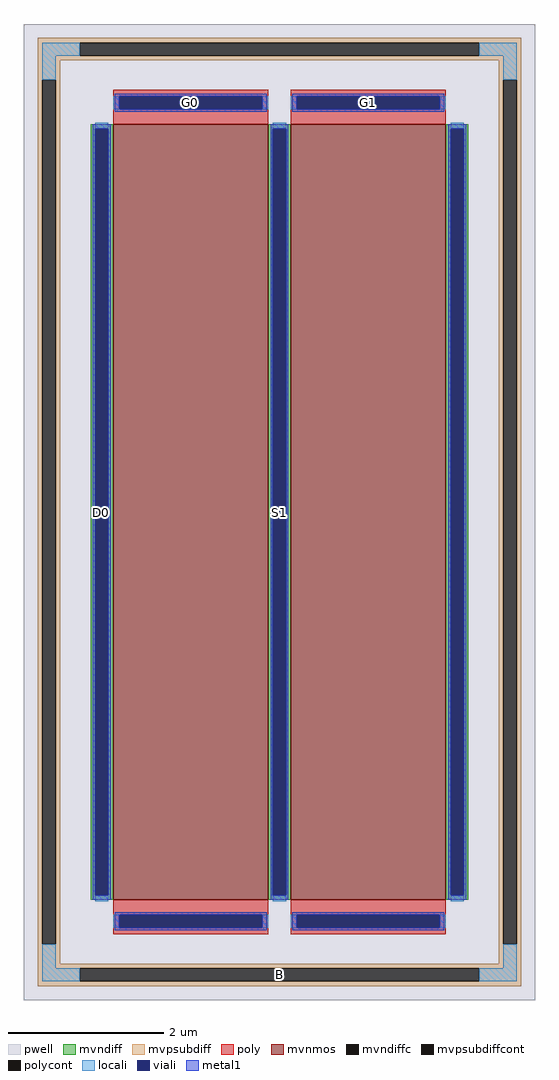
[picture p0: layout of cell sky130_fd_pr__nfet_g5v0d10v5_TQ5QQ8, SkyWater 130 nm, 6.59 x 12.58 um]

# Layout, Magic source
magic
tech sky130A
magscale 1 2
<< pwell >>
rect -659 -1258 659 1258
<< mvnmos >>
rect -429 -1000 -29 1000
rect 29 -1000 429 1000
<< mvndiff >>
rect -487 988 -429 1000
rect -487 -988 -475 988
rect -441 -988 -429 988
rect -487 -1000 -429 -988
rect -29 988 29 1000
rect -29 -988 -17 988
rect 17 -988 29 988
rect -29 -1000 29 -988
rect 429 988 487 1000
rect 429 -988 441 988
rect 475 -988 487 988
rect 429 -1000 487 -988
<< mvndiffc >>
rect -475 -988 -441 988
rect -17 -988 17 988
rect 441 -988 475 988
<< mvpsubdiff >>
rect -623 1210 623 1222
rect -623 1176 -515 1210
rect 515 1176 623 1210
rect -623 1164 623 1176
rect -623 1114 -565 1164
rect -623 -1114 -611 1114
rect -577 -1114 -565 1114
rect 565 1114 623 1164
rect -623 -1164 -565 -1114
rect 565 -1114 577 1114
rect 611 -1114 623 1114
rect 565 -1164 623 -1114
rect -623 -1176 623 -1164
rect -623 -1210 -515 -1176
rect 515 -1210 623 -1176
rect -623 -1222 623 -1210
<< mvpsubdiffcont >>
rect -515 1176 515 1210
rect -611 -1114 -577 1114
rect 577 -1114 611 1114
rect -515 -1210 515 -1176
<< poly >>
rect -429 1072 -29 1088
rect -429 1038 -413 1072
rect -45 1038 -29 1072
rect -429 1000 -29 1038
rect 29 1072 429 1088
rect 29 1038 45 1072
rect 413 1038 429 1072
rect 29 1000 429 1038
rect -429 -1038 -29 -1000
rect -429 -1072 -413 -1038
rect -45 -1072 -29 -1038
rect -429 -1088 -29 -1072
rect 29 -1038 429 -1000
rect 29 -1072 45 -1038
rect 413 -1072 429 -1038
rect 29 -1088 429 -1072
<< polycont >>
rect -413 1038 -45 1072
rect 45 1038 413 1072
rect -413 -1072 -45 -1038
rect 45 -1072 413 -1038
<< locali >>
rect -611 1176 -515 1210
rect 515 1176 611 1210
rect -611 1114 -577 1176
rect 577 1114 611 1176
rect -429 1038 -413 1072
rect -45 1038 -29 1072
rect 29 1038 45 1072
rect 413 1038 429 1072
rect -475 988 -441 1004
rect -475 -1004 -441 -988
rect -17 988 17 1004
rect -17 -1004 17 -988
rect 441 988 475 1004
rect 441 -1004 475 -988
rect -429 -1072 -413 -1038
rect -45 -1072 -29 -1038
rect 29 -1072 45 -1038
rect 413 -1072 429 -1038
rect -611 -1176 -577 -1114
rect 577 -1176 611 -1114
rect -611 -1210 -515 -1176
rect 515 -1210 611 -1176
<< viali >>
rect -413 1038 -45 1072
rect 45 1038 413 1072
rect -475 -988 -441 988
rect -17 -988 17 988
rect 441 -988 475 988
rect -413 -1072 -45 -1038
rect 45 -1072 413 -1038
<< metal1 >>
rect -425 1072 -33 1078
rect -425 1038 -413 1072
rect -45 1038 -33 1072
rect -425 1032 -33 1038
rect 33 1072 425 1078
rect 33 1038 45 1072
rect 413 1038 425 1072
rect 33 1032 425 1038
rect -481 988 -435 1000
rect -481 -988 -475 988
rect -441 -988 -435 988
rect -481 -1000 -435 -988
rect -23 988 23 1000
rect -23 -988 -17 988
rect 17 -988 23 988
rect -23 -1000 23 -988
rect 435 988 481 1000
rect 435 -988 441 988
rect 475 -988 481 988
rect 435 -1000 481 -988
rect -425 -1038 -33 -1032
rect -425 -1072 -413 -1038
rect -45 -1072 -33 -1038
rect -425 -1078 -33 -1072
rect 33 -1038 425 -1032
rect 33 -1072 45 -1038
rect 413 -1072 425 -1038
rect 33 -1078 425 -1072
<< labels >>
rlabel mvpsubdiffcont 0 -1193 0 -1193 0 B
port 1 nsew
rlabel mvndiffc -458 0 -458 0 0 D0
port 2 nsew
rlabel polycont -229 1055 -229 1055 0 G0
port 3 nsew
rlabel mvndiffc 0 0 0 0 0 S1
port 4 nsew
rlabel polycont 229 1055 229 1055 0 G1
port 5 nsew
<< properties >>
string FIXED_BBOX -594 -1193 594 1193
string gencell sky130_fd_pr__nfet_g5v0d10v5
string library sky130
string parameters w 10 l 2 m 1 nf 2 diffcov 100 polycov 100 guard 1 glc 1 grc 1 gtc 1 gbc 1 tbcov 100 rlcov 100 topc 1 botc 1 poverlap 0 doverlap 1 lmin 0.50 wmin 0.42 class mosfet compatible {sky130_fd_pr__nfet_01v8 sky130_fd_pr__nfet_01v8_lvt  sky130_fd_bs_flash__special_sonosfet_star  sky130_fd_pr__nfet_g5v0d10v5 sky130_fd_pr__nfet_05v0_nvt  sky130_fd_pr__nfet_03v3_nvt} full_metal 1 conn_gates 0 viasrc 100 viadrn 100 viagate 100 viagb 0 viagr 0 viagl 0 viagt 0 doports 1
<< end >>
